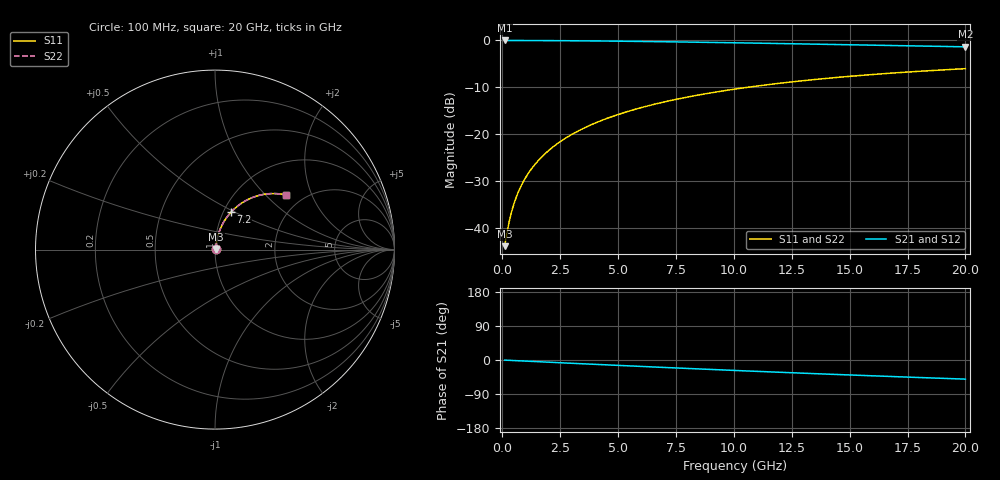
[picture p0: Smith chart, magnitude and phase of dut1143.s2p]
! Touchstone file exported from HFSS 2026.1.0
!  File:  C:/ffzhzh/LocalFiles/Ansys_Project_Files/temp_train_BSMRDL_1143_1783175508_22436.aedt
!  Generated:  10:33:04 PM Jul  4, 2026
!  Design:  BSMRDL
!  Project:  temp_train_BSMRDL_1143_1783175508_22436
! Variables:
!  h_bsmrdl = 4.35um
!  h_ox = 20um
!  h_rdl = 5um
!  h_sub = 80um
!  h_tmrdl = 5um
!  h_tsv = 80um
!  h_via = 3um
!  l_bsmrdl = 746.5um
!  l_sub = 1146.5um
!  l_tmrdl = 200um
!  m_sub = 200um
!  pitch = 37.54um
!  r_tsv = 6um
!  s_tmrdl = 10um
!  w_bsmrdl = 11.25um
!  w_sub = 500um
!  w_tmrdl = 12um
!  x_tsv_center1 = 206um
!  x_tsv_center2 = 963.75um
!  x_tsv_center3 = 1175.75um
!  x_tsv_center4 = 1933.5um
!  x_tsv_center5 = 2145.5um
!  x_tsv_center6 = 2903.25um
# GHz S MA R 50.000000
! Terminal data exported
! Port[1] = BSM_RDL1_1_T1
! Port[2] = BSM_RDL1_1_T2
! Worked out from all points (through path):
!   200 points, 100 MHz to 20 GHz, reference 50 ohm
!   highest |S21| = -0.05 dB at 100 MHz (marker M1); lowest = -1.4 dB at 20 GHz (marker M2)
!   group delay of S21, straight-line fit = 7.01 ps
!   lowest |S11| = -43.8 dB at 100 MHz (marker M3), VSWR 1.01, Z = 50.5 + j0.352 ohm
!   |S11| at or under -10 dB: start of sweep to 10.61 GHz
!   |S22| runs from -43.8 to -6.1 dB; largest |S21 - S12| = 2.1e-15
!   S11 on the Smith chart (normalised r, x): 100 MHz: 1.01, +0.01; 7.2 GHz: 1.09, +0.48; 20 GHz: 1.64, +1.32
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0.1  0.006436 32.7  0.9946 -0.3  0.9946 -0.3  0.006436 32.7
! Gamma 0 0 0 0
! Port Impedance 50 0 50 0
0.2  0.008877 51.2  0.9945 -0.6  0.9945 -0.6  0.008877 51.2
0.3  0.01181 60.8  0.9943 -0.9  0.9943 -0.9  0.01181 60.8
0.4  0.01492 66.3  0.9942 -1.2  0.9942 -1.2  0.01492 66.3
0.5  0.01809 69.8  0.994 -1.5  0.994 -1.5  0.01809 69.8
0.6  0.0213 72.1  0.9939 -1.8  0.9939 -1.8  0.0213 72.1
0.8  0.02777 75.0  0.9936 -2.3  0.9936 -2.3  0.02777 75.0
1.1  0.03755 77.2  0.9931 -3.2  0.9931 -3.2  0.03755 77.2
1.3  0.0441 77.9  0.9927 -3.8  0.9927 -3.8  0.0441 77.9
1.6  0.05393 78.4  0.992 -4.7  0.992 -4.7  0.05393 78.4
2.1  0.07028 78.3  0.9907 -6.1  0.9907 -6.1  0.07028 78.3
2.7  0.08975 77.5  0.9887 -7.8  0.9887 -7.8  0.08975 77.5
3.5  0.1154 75.9  0.9853 -10.1  0.9853 -10.1  0.1153 75.9
4.2  0.1373 74.3  0.9819 -12.0  0.9819 -12.0  0.1373 74.3
5  0.1619 72.4  0.9774 -14.3  0.9774 -14.3  0.1619 72.4
6.8  0.215 67.9  0.9655 -19.2  0.9655 -19.2  0.215 67.9
7.2  0.2264 66.8  0.9626 -20.2  0.9626 -20.2  0.2264 66.9
8.6  0.2647 63.3  0.9517 -23.9  0.9517 -23.9  0.2647 63.4
10.1  0.3035 59.7  0.9392 -27.7  0.9392 -27.7  0.3035 59.7
13.4  0.3801 51.9  0.9098 -35.8  0.9098 -35.8  0.38 51.9
16.7  0.4448 44.5  0.8797 -43.4  0.8797 -43.4  0.4448 44.6
20  0.4982 37.7  0.8508 -50.5  0.8508 -50.5  0.4981 37.7
